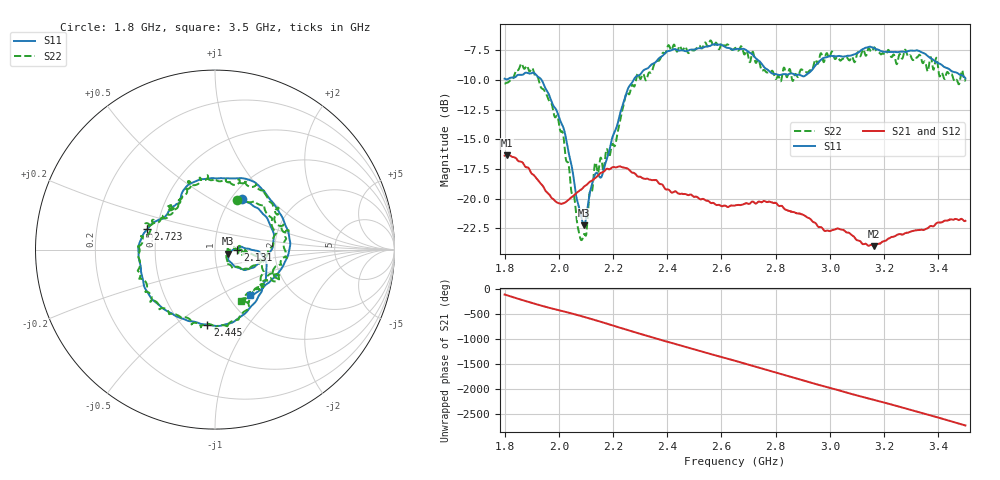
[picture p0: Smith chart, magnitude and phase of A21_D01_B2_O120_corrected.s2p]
! Created with skrf 1.9.0 (http://scikit-rf.org).
# Hz S RI R 50.0
!freq ReS11 ImS11 ReS21 ImS21 ReS12 ImS12 ReS22 ImS22
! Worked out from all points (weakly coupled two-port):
!   1601 points, 1.8 GHz to 3.5 GHz, reference 50 ohm
!   highest |S21| = -16.33 dB at 1.81 GHz (marker M1); lowest = -24.0 dB at 3.163 GHz (marker M2)
!   lowest |S11| = -22.2 dB at 2.093 GHz (marker M3), VSWR 1.17, Z = 57.9 - j2.7 ohm
!   |S11| at or under -10 dB: 1.936 GHz to 2.276 GHz (339.4 MHz wide, 16.1 % of centre)
!   |S22| runs from -23.5 to -6.7 dB; largest |S21 - S12| = 0.003
!   S11 on the Smith chart (normalised r, x): 1.8 GHz: 1.12, +0.71; 2.131 GHz: 1.28, -0.00; 2.445 GHz: 0.65, -0.66; 2.723 GHz: 0.44, +0.12; 3.5 GHz: 1.26, -0.72
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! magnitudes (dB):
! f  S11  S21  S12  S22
! 1.8 GHz  -9.9  -16.4  -16.4  -10.3
! 1.81 GHz  -10.0  -16.3  -16.4  -10.2
! 1.882 GHz  -9.4  -17.4  -17.4  -8.8
! 1.969 GHz  -11.6  -19.8  -19.8  -11.9
! 2.02 GHz  -14.2  -20.4  -20.4  -15.3
! 2.084 GHz  -21.6  -19.2  -19.2  -23.5
! 2.093 GHz  -22.2  -19.0  -19.0  -23.0
! 2.131 GHz  -18.1  -18.3  -18.3  -17.3
! 2.16 GHz  -18.0  -17.8  -17.7  -17.1
! 2.208 GHz  -14.3  -17.4  -17.3  -15.5
! 2.259 GHz  -10.6  -17.6  -17.6  -11.2
! 2.367 GHz  -8.2  -18.7  -18.6  -8.4
! 2.445 GHz  -7.5  -19.6  -19.6  -7.1
! 2.65 GHz  -7.4  -20.6  -20.5  -7.3
! 2.723 GHz  -8.1  -20.4  -20.3  -8.4
! 2.813 GHz  -9.6  -20.6  -20.5  -9.8
! 2.934 GHz  -9.2  -21.9  -21.9  -9.2
! 2.967 GHz  -8.3  -22.4  -22.4  -7.8
! 3.163 GHz  -7.3  -24.0  -24.0  -7.3
! 3.217 GHz  -7.6  -23.3  -23.3  -7.5
! 3.327 GHz  -7.5  -22.6  -22.6  -8.0
! 3.5 GHz  -9.9  -21.9  -21.9  -9.9
